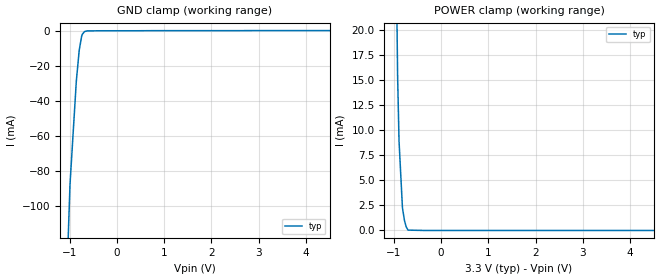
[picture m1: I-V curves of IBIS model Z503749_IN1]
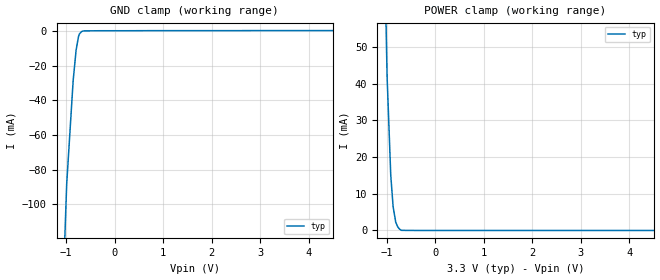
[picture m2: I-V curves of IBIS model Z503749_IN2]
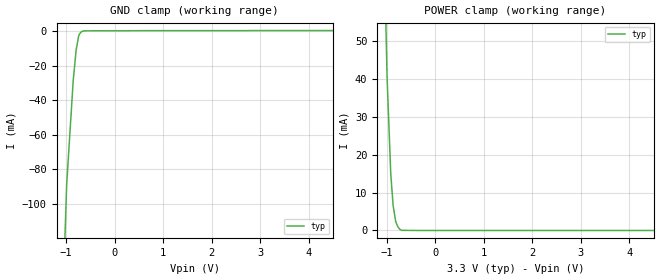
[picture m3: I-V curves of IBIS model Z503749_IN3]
| YOU ARE ONLY AUTHORIZED TO USE THIS SOFTWARE
| ACCORDING TO LICENSOR'S LICENSE RESTRICTIONS.
[IBIS Ver] 3.1
[File Name] mc74ac161n_33.ibs
[File Rev] 2.0
[Source] Measured and created by ICX Technology
[Date] Friday 7/14/00 9:07:59 AM
[Copyright]
| (C) COPYRIGHT 1993-2000
| MENTOR GRAPHICS CORPORATION
| ICX STANDARD LIBRARY, ICX PROJECT MODELING,
| ICX CUSTOM MODELING, ICX VENDOR MODEL
| ALL RIGHTS RESERVED.
| THE FOLLOWING ARE TRADEMARKS OR SERVICE MARKS OF
| MENTOR GRAPHICS CORPORATION:ICX (R), ICX STANDARD
| LIBRARY(R), ICX PROJECT MODELING(R), ICX CUSTOM
| MODELING(R), qualityIBIS(TM), MODELVIEWER(TM),
| AND MODELEDITOR(TM)
| ALL COPIES OF SOFTWARE, INCLUDING BUT NOT LIMITED TO
| ANY MODIFICATIONS, ENHANCEMENTS OR DERIVATIVE WORKS,
| MUST CONTAIN ALL MENTOR GRAPHICS CORPORATION'S
| NOTICES AND LEGENDS, INCLUDING THOSE EMBEDDED IN
| SOFTWARE AND THOSE AFFIXED TO SOFTWARE MEDIUM
| AND CONTAINER, AS RECEIVED FROM MENTOR GRAPHICS
| CORPORATION.
|  ZAP Model Builder 2.7
[Component] MC74AC161N_33
[Manufacturer] OnSemiconductor
[Package]
| variable   typ   min   max
R_pkg  .212ohms NA NA
L_pkg  4.758nH NA NA
C_pkg  1.143pF NA NA
[Pin] signal_name  model_name  R_pin  L_pin C_pin
1 _M_R Z503749_IN1 .224 7.258n 1.578p
2 CP Z503749_IN2 .216 5.258n 1.288p
3 D0 Z503749_IN3 .208 3.758n .998p
4 D1 Z503749_IN3 .2 2.758n .708p
5 D2 Z503749_IN3 .2 2.758n .708p
6 D3 Z503749_IN3 .208 3.758n .998p
7 CEP Z503749_IN4 .216 5.258n 1.288p
8 GND GND .224 7.258n 1.578p
9 _P_E Z503749_IN5 .224 7.258n 1.578p
10 CET Z503749_IN6 .216 5.258n 1.288p
11 Q3 Z503749_OUT7 .208 3.758n .998p
12 Q2 Z503749_OUT7 .2 2.758n .708p
13 Q1 Z503749_OUT7 .2 2.758n .708p
14 Q0 Z503749_OUT7 .208 3.758n .998p
15 TC Z503749_OUT8 .216 5.258n 1.288p
16 Vcc POWER .224 7.258n 1.578p
| Models and submodels in the file (8): Z503749_IN1 (Input), Z503749_IN2 (Input), Z503749_IN3 (Input), Z503749_IN4 (Input), Z503749_IN5 (Input), Z503749_IN6 (Input), Z503749_OUT7 (Output), Z503749_OUT8 (Output)
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| (C) COPYRIGHT 1993-2000
| MENTOR GRAPHICS CORPORATION
| ICX STANDARD LIBRARY, ICX PROJECT MODELING,
| ICX CUSTOM MODELING, ICX VENDOR MODEL
| ALL RIGHTS RESERVED.
| THE FOLLOWING ARE TRADEMARKS OR SERVICE MARKS OF
| MENTOR GRAPHICS CORPORATION:ICX (R), ICX STANDARD
| LIBRARY(R), ICX PROJECT MODELING(R), ICX CUSTOM
| MODELING(R), qualityIBIS(TM), MODELVIEWER(TM),
| AND MODELEDITOR(TM)
| ALL COPIES OF SOFTWARE, INCLUDING BUT NOT LIMITED TO
| ANY MODIFICATIONS, ENHANCEMENTS OR DERIVATIVE WORKS,
| MUST CONTAIN ALL MENTOR GRAPHICS CORPORATION'S
| NOTICES AND LEGENDS, INCLUDING THOSE EMBEDDED IN
| SOFTWARE AND THOSE AFFIXED TO SOFTWARE MEDIUM
| AND CONTAINER, AS RECEIVED FROM MENTOR GRAPHICS
| CORPORATION.
| Model Application Version 1.89 2/18/99.
[Model] Z503749_IN1
Model_type Input
Vinl = 990.0mV
Vinh = 2.310V
C_comp 4.000pF NA NA
| variable typ   min   max
[Voltage Range] 3.300V NA NA
[GND Clamp Reference] 0.000V NA NA
[POWER Clamp Reference] 3.300V NA NA
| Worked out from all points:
|   GND clamp passes 1 mA (typ) near -0.70 V on its own axis
|   POWER clamp passes 1 mA (typ) near -0.77 V on its own axis
[GND Clamp]
-3.3V     -1.941A    NA         NA
-991.6mV  -87.88mA   NA         NA
-857.5mV  -28.57mA   NA         NA
-797.1mV  -11.11mA   NA         NA
-747.4mV  -3.254mA   NA         NA
-730.9mV  -1.856mA   NA         NA
-667.5mV  -157.9uA   NA         NA
6.6V      263.3uA    NA         NA
[POWER Clamp]
-3.3V     2.506A     NA         NA
-1.113V   134.6mA    NA         NA
-1.006V   50.34mA    NA         NA
-919mV    15.31mA    NA         NA
-889mV    8.896mA    NA         NA
-817mV    2.268mA    NA         NA
-774mV    986.7uA    NA         NA
-737mV    355.3uA    NA         NA
-698mV    35.5uA     NA         NA
-349mV    0A         NA         NA
6.6V      0A         NA         NA
| (C) COPYRIGHT 1993-2000
| MENTOR GRAPHICS CORPORATION
| ICX STANDARD LIBRARY, ICX PROJECT MODELING,
| ICX CUSTOM MODELING, ICX VENDOR MODEL
| ALL RIGHTS RESERVED.
| THE FOLLOWING ARE TRADEMARKS OR SERVICE MARKS OF
| MENTOR GRAPHICS CORPORATION:ICX (R), ICX STANDARD
| LIBRARY(R), ICX PROJECT MODELING(R), ICX CUSTOM
| MODELING(R), qualityIBIS(TM), MODELVIEWER(TM),
| AND MODELEDITOR(TM)
| ALL COPIES OF SOFTWARE, INCLUDING BUT NOT LIMITED TO
| ANY MODIFICATIONS, ENHANCEMENTS OR DERIVATIVE WORKS,
| MUST CONTAIN ALL MENTOR GRAPHICS CORPORATION'S
| NOTICES AND LEGENDS, INCLUDING THOSE EMBEDDED IN
| SOFTWARE AND THOSE AFFIXED TO SOFTWARE MEDIUM
| AND CONTAINER, AS RECEIVED FROM MENTOR GRAPHICS
| CORPORATION.
| Model Application Version 1.89 2/18/99.
[Model] Z503749_IN2
Model_type Input
Vinl = 990.0mV
Vinh = 2.310V
C_comp 4.000pF NA NA
| variable typ   min   max
[Voltage Range] 3.300V NA NA
[GND Clamp Reference] 0.000V NA NA
[POWER Clamp Reference] 3.300V NA NA
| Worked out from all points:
|   GND clamp passes 1 mA (typ) near -0.70 V on its own axis
|   POWER clamp passes 1 mA (typ) near -0.78 V on its own axis
[GND Clamp]
-3.3V     -1.953A    NA         NA
-990.9mV  -88.59mA   NA         NA
-857mV    -28.57mA   NA         NA
-796.9mV  -11.09mA   NA         NA
-747.3mV  -3.237mA   NA         NA
-730.2mV  -1.829mA   NA         NA
-667.5mV  -153.3uA   NA         NA
6.6V      247.5uA    NA         NA
[POWER Clamp]
-3.3V     1.989A     NA         NA
-1.11V    117.4mA    NA         NA
-995mV    41.86mA    NA         NA
-920mV    15.09mA    NA         NA
-871mV    6.474mA    NA         NA
-817mV    2.244mA    NA         NA
-775mV    976.5uA    NA         NA
-737mV    340.9uA    NA         NA
-698mV    33.2uA     NA         NA
-349mV    0A         NA         NA
6.6V      0A         NA         NA
| (C) COPYRIGHT 1993-2000
| MENTOR GRAPHICS CORPORATION
| ICX STANDARD LIBRARY, ICX PROJECT MODELING,
| ICX CUSTOM MODELING, ICX VENDOR MODEL
| ALL RIGHTS RESERVED.
| THE FOLLOWING ARE TRADEMARKS OR SERVICE MARKS OF
| MENTOR GRAPHICS CORPORATION:ICX (R), ICX STANDARD
| LIBRARY(R), ICX PROJECT MODELING(R), ICX CUSTOM
| MODELING(R), qualityIBIS(TM), MODELVIEWER(TM),
| AND MODELEDITOR(TM)
| ALL COPIES OF SOFTWARE, INCLUDING BUT NOT LIMITED TO
| ANY MODIFICATIONS, ENHANCEMENTS OR DERIVATIVE WORKS,
| MUST CONTAIN ALL MENTOR GRAPHICS CORPORATION'S
| NOTICES AND LEGENDS, INCLUDING THOSE EMBEDDED IN
| SOFTWARE AND THOSE AFFIXED TO SOFTWARE MEDIUM
| AND CONTAINER, AS RECEIVED FROM MENTOR GRAPHICS
| CORPORATION.
| Model Application Version 1.89 2/18/99.
[Model] Z503749_IN3
Model_type Input
Vinl = 990.0mV
Vinh = 2.310V
C_comp 4.000pF NA NA
| variable typ   min   max
[Voltage Range] 3.300V NA NA
[GND Clamp Reference] 0.000V NA NA
[POWER Clamp Reference] 3.300V NA NA
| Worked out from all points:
|   GND clamp passes 1 mA (typ) near -0.70 V on its own axis
|   POWER clamp passes 1 mA (typ) near -0.77 V on its own axis
[GND Clamp]
-3.3V     -2.049A    NA         NA
-990.8mV  -88.74mA   NA         NA
-856.7mV  -28.82mA   NA         NA
-796.7mV  -11.21mA   NA         NA
-747.1mV  -3.3mA     NA         NA
-730.7mV  -1.869mA   NA         NA
-687.2mV  -447.6uA   NA         NA
-610.2mV  79.34uA    NA         NA
-305.1mV  149.4uA    NA         NA
6.6V      251uA      NA         NA
[POWER Clamp]
-3.3V     1.71A      NA         NA
-1.117V   111.1mA    NA         NA
-996mV    40.65mA    NA         NA
-920mV    15.05mA    NA         NA
-871mV    6.589mA    NA         NA
-817mV    2.331mA    NA         NA
-775mV    1.03mA     NA         NA
-737mV    364.5uA    NA         NA
-698mV    41.9uA     NA         NA
-349mV    0A         NA         NA
6.6V      0A         NA         NA
